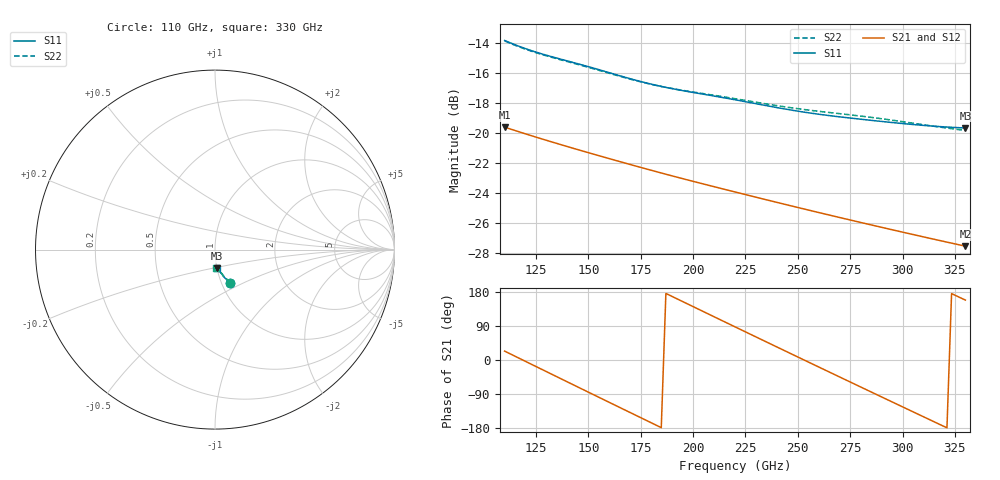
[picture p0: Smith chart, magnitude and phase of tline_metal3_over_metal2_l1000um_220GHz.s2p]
#  GHZ S DB R 50
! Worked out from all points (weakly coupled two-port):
!   101 points, 110 GHz to 330 GHz, reference 50 ohm
!   highest |S21| = -19.60 dB at 110 GHz (marker M1); lowest = -27.5 dB at 330 GHz (marker M2)
!   lowest |S11| = -19.7 dB at 330 GHz (marker M3), VSWR 1.23, Z = 50.2 - j10.5 ohm
!   |S11| at or under -10 dB: start of sweep to end of sweep
!   |S22| runs from -19.8 to -13.9 dB; largest |S21 - S12| = 1.1e-13
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110  -13.83 -66.4  -19.60 23.5  -19.60 23.5  -13.86 -65.9
116.6  -14.20 -67.0  -19.90 5.6  -19.90 5.6  -14.24 -66.5
125.4  -14.62 -67.8  -20.28 -18.3  -20.28 -18.3  -14.66 -67.3
136.4  -15.06 -69.0  -20.75 -48.1  -20.75 -48.1  -15.10 -68.4
147.4  -15.48 -70.5  -21.19 -77.9  -21.19 -77.9  -15.52 -69.8
156.2  -15.82 -71.7  -21.55 -101.6  -21.55 -101.6  -15.87 -71.0
167.2  -16.27 -73.0  -21.98 -131.3  -21.98 -131.3  -16.30 -72.2
176  -16.60 -73.7  -22.32 -154.9  -22.32 -154.9  -16.62 -72.8
184.8  -16.89 -74.2  -22.65 -178.5  -22.65 -178.5  -16.89 -73.4
193.6  -17.13 -74.8  -22.98 158.0  -22.98 158.0  -17.12 -74.0
204.6  -17.40 -75.7  -23.37 128.6  -23.37 128.6  -17.36 -74.9
213.4  -17.61 -76.5  -23.68 105.1  -23.68 105.1  -17.56 -75.9
220  -17.78 -77.2  -23.91 87.5  -23.91 87.5  -17.71 -76.6
228.8  -18.01 -78.0  -24.22 64.1  -24.22 64.1  -17.91 -77.6
239.8  -18.29 -78.8  -24.60 34.9  -24.60 34.9  -18.16 -78.6
248.6  -18.50 -79.3  -24.90 11.6  -24.90 11.6  -18.34 -79.4
257.4  -18.69 -79.7  -25.20 -11.7  -25.20 -11.7  -18.50 -80.2
268.4  -18.89 -80.1  -25.56 -40.7  -25.56 -40.7  -18.68 -81.3
277.2  -19.03 -80.5  -25.85 -63.8  -25.85 -63.8  -18.82 -82.3
294.8  -19.29 -81.4  -26.42 -110.0  -26.42 -110.0  -19.13 -84.5
312.4  -19.51 -82.1  -26.98 -156.1  -26.98 -156.1  -19.49 -86.4
330  -19.66 -82.7  -27.52 158.1  -27.52 158.1  -19.82 -88.0
